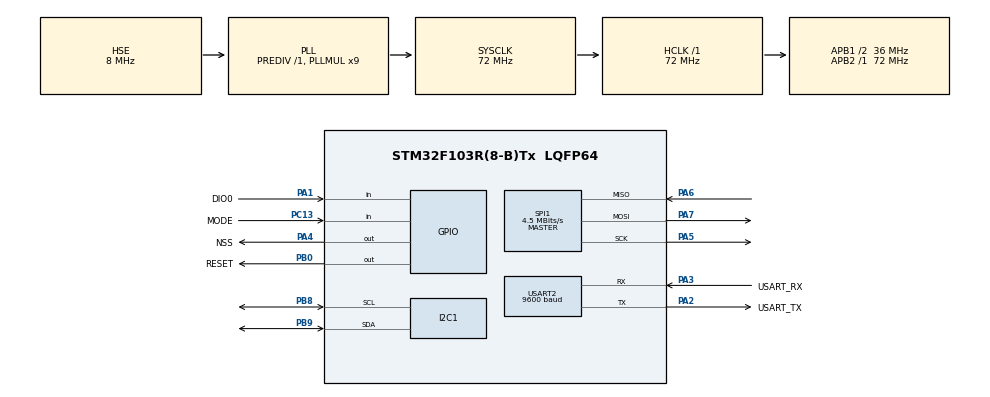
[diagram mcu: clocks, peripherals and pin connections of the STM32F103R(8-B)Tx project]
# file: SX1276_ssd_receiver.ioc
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I2C1.I2C_Mode=I2C_Fast
Mcu.Family=STM32F1
Mcu.Name=STM32F103R(8-B)Tx
Mcu.Package=LQFP64
NVIC.PriorityGroup=NVIC_PRIORITYGROUP_4
NVIC.USART2_IRQn=true\:0\:0\:false\:false\:true\:true\:true\:true
PA1.GPIO_Label=DIO0
PA1.Signal=GPIO_Input
PA13.GPIO_Label=TMS
PA13.Mode=Serial_Wire
PA13.Signal=SYS_JTMS-SWDIO
PA14.GPIO_Label=TCK
PA14.Mode=Serial_Wire
PA14.Signal=SYS_JTCK-SWCLK
PA2.GPIO_Label=USART_TX
PA2.GPIO_Mode=GPIO_MODE_AF_PP
PA2.GPIO_PuPd=GPIO_NOPULL
PA2.GPIO_Speed=GPIO_SPEED_FREQ_LOW
PA2.Mode=Asynchronous
PA2.Signal=USART2_TX
PA3.GPIO_Label=USART_RX
PA3.GPIO_Mode=GPIO_MODE_AF_PP
PA3.GPIO_PuPd=GPIO_NOPULL
PA3.GPIO_Speed=GPIO_SPEED_FREQ_LOW
PA3.Mode=Asynchronous
PA3.Signal=USART2_RX
PA4.GPIO_Label=NSS
PA4.PinState=GPIO_PIN_SET
PA4.Signal=GPIO_Output
PA5.Mode=Full_Duplex_Master
PA5.Signal=SPI1_SCK
PA6.Mode=Full_Duplex_Master
PA6.Signal=SPI1_MISO
PA7.Mode=Full_Duplex_Master
PA7.Signal=SPI1_MOSI
PB0.GPIO_Label=RESET
PB0.PinState=GPIO_PIN_SET
PB0.Signal=GPIO_Output
PB3.GPIO_Label=SWO
PB3.Signal=SYS_JTDO-TRACESWO
PB8.Mode=I2C
PB8.Signal=I2C1_SCL
PB9.Mode=I2C
PB9.Signal=I2C1_SDA
PC13-TAMPER-RTC.GPIO_Label=MODE
PC13-TAMPER-RTC.Signal=GPIO_Input
PC14-OSC32_IN.Mode=LSE-External-Oscillator
PC14-OSC32_IN.Signal=RCC_OSC32_IN
PC15-OSC32_OUT.Mode=LSE-External-Oscillator
PC15-OSC32_OUT.Signal=RCC_OSC32_OUT
PD0-OSC_IN.Mode=HSE-External-Clock-Source
PD0-OSC_IN.Signal=RCC_OSC_IN
PD1-OSC_OUT.Mode=HSE-External-Clock-Source
PD1-OSC_OUT.Signal=RCC_OSC_OUT
ProjectManager.HeapSize=0x200
ProjectManager.StackSize=0x400
ProjectManager.TargetToolchain=STM32CubeIDE
RCC.AHBFreq_Value=72000000
RCC.APB1CLKDivider=RCC_HCLK_DIV2
RCC.APB1Freq_Value=36000000
RCC.APB1TimFreq_Value=72000000
RCC.APB2Freq_Value=72000000
RCC.APB2TimFreq_Value=72000000
RCC.HCLKFreq_Value=72000000
RCC.PLLMUL=RCC_PLL_MUL9
RCC.PLLSourceVirtual=RCC_PLLSOURCE_HSE
RCC.RTCClockSelection=RCC_RTCCLKSOURCE_LSE
RCC.SYSCLKFreq_VALUE=72000000
RCC.SYSCLKSource=RCC_SYSCLKSOURCE_PLLCLK
RCC.USBFreq_Value=72000000
SPI1.BaudRatePrescaler=SPI_BAUDRATEPRESCALER_16
SPI1.CalculateBaudRate=4.5 MBits/s
SPI1.Direction=SPI_DIRECTION_2LINES
SPI1.Mode=SPI_MODE_MASTER
SPI1.VirtualType=VM_MASTER
USART2.BaudRate=9600
USART2.VirtualMode=VM_ASYNC
board=NUCLEO-F103RB

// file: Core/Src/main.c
/* USER CODE BEGIN Header */
/**
  ******************************************************************************
  * @file           : main.c
  * @brief          : Main program body
  * @author			: C J R Y U | 2sanghaesea
  ******************************************************************************
  * @attention
  *
  * Copyright (c) 2024 STMicroelectronics.
  * All rights reserved.
  *
  * This software is licensed under terms that can be found in the LICENSE file
  * in the root directory of this software component.
  * If no LICENSE file comes with this software, it is provided AS-IS.
  *
  ******************************************************************************
  */
/* USER CODE END Header */
#include "main.h"
#include "i2c.h"
#include "spi.h"
#include "usart.h"
#include "gpio.h"

/* USER CODE BEGIN Includes */
#include <stdio.h>
#include <string.h>
#include "fonts.h"
#include "ssd1306.h"
#include <SX1276.h>
/* USER CODE END Includes */

void SystemClock_Config(void);
/* USER CODE BEGIN PFP */
int _write(int file, char *ptr, int len) {
    int i;
    HAL_UART_Transmit(&huart2, (uint8_t*) ptr, len, 50);
    for (i = 0; i < len; i++) {
        ITM_SendChar(*ptr++);
    }
    return len;
}
/* USER CODE END PFP */

/* USER CODE BEGIN 0 */
//sx1276 코드 ----------------------------------------------------------------
SX1276_hw_t SX1276_hw;     // SX1276 hardware configuration struct
SX1276_t SX1276;           // SX1276 LoRa module struct

int master;     // Master/Slave mode flag
int ret;

char buffer[512];

int message_length;

/* USER CODE END 0 */

int main(void)
{

  /* MCU Configuration--------------------------------------------------------*/

  /* Reset of all peripherals, Initializes the Flash interface and the Systick. */
  HAL_Init();

  /* Configure the system clock */
  SystemClock_Config();

  /* Initialize all configured peripherals */
  MX_GPIO_Init();
  MX_USART2_UART_Init();
  MX_SPI1_Init();
  MX_I2C1_Init();
  /* USER CODE BEGIN 2 */

	  printf("Mode: Slave\r\n");      // Print mode information
	  HAL_GPIO_WritePin(MODE_GPIO_Port, MODE_Pin, GPIO_PIN_SET);    // Set MODE pin high for slave mode

      // Initialize SX1276 LoRa module
      SX1276_hw.dio0.port = DIO0_GPIO_Port;
      SX1276_hw.dio0.pin = DIO0_Pin;
      SX1276_hw.nss.port = NSS_GPIO_Port;
      SX1276_hw.nss.pin = NSS_Pin;
      SX1276_hw.reset.port = RESET_GPIO_Port;
      SX1276_hw.reset.pin = RESET_Pin;
      SX1276_hw.spi = &hspi1;

      SX1276.hw = &SX1276_hw;

      printf("Configuring LoRa module\r\n");
      SX1276_init(&SX1276, 923100000, SX1276_POWER_20DBM, SX1276_LORA_SF_7,  // Configure LoRa module
                  SX1276_LORA_BW_125KHZ, SX1276_LORA_CR_4_5, SX1276_LORA_CRC_EN, 10);
      printf("Done configuring LoRaModule\r\n");

	  ret = SX1276_LoRaEntryRx(&SX1276, 16, 2000);     // Configure LoRa module for reception in slave mode
	  printf("Receive Mode !\r\n");

      SSD1306_Init();

	  char received_temperature[15];
	  char received_humidity[15];
  /* USER CODE END 2 */

  /* Infinite loop */
  /* USER CODE BEGIN WHILE */
  while (1)
  {

		 printf("Slave ...\r\n");
		 HAL_Delay(800);
		 printf("Receiving package...\r\n");

		 ret = SX1276_LoRaRxPacket(&SX1276);
		 printf("Received: %d\r\n", ret);
		 if (ret > 0) {
			SX1276_read(&SX1276, (uint8_t*) buffer, ret);
			printf("Content (%d): %s\r\n", ret, buffer);

			char *token = strtok(buffer, ",");

			// 온도와 습도 추출
			strcpy(received_temperature, token);

			strcpy(received_humidity, strtok(NULL, "."));

			// OLED에 수신된 온도와 습도 표시
			SSD1306_GotoXY(21,0);
			SSD1306_Puts("RECEIVED",&Font_11x18, 1);
			SSD1306_GotoXY(10,20);
			SSD1306_Puts(received_temperature,&Font_11x18, 1);
			SSD1306_GotoXY(0,40);

			SSD1306_Puts(received_humidity,&Font_11x18, 1);
			SSD1306_UpdateScreen();

			printf("Package received ...\r\n");

	         }

    /* USER CODE END WHILE */

  }
}

void SystemClock_Config(void)
{
  RCC_OscInitTypeDef RCC_OscInitStruct = {0};
  RCC_ClkInitTypeDef RCC_ClkInitStruct = {0};

  /** Initializes the RCC Oscillators according to the specified parameters
  * in the RCC_OscInitTypeDef structure.
  */
  RCC_OscInitStruct.OscillatorType = RCC_OSCILLATORTYPE_HSE;
  RCC_OscInitStruct.HSEState = RCC_HSE_BYPASS;
  RCC_OscInitStruct.HSEPredivValue = RCC_HSE_PREDIV_DIV1;
  RCC_OscInitStruct.HSIState = RCC_HSI_ON;
  RCC_OscInitStruct.PLL.PLLState = RCC_PLL_ON;
  RCC_OscInitStruct.PLL.PLLSource = RCC_PLLSOURCE_HSE;
  RCC_OscInitStruct.PLL.PLLMUL = RCC_PLL_MUL9;
  if (HAL_RCC_OscConfig(&RCC_OscInitStruct) != HAL_OK)
  {
    Error_Handler();
  }

  /** Initializes the CPU, AHB and APB buses clocks
  */
  RCC_ClkInitStruct.ClockType = RCC_CLOCKTYPE_HCLK|RCC_CLOCKTYPE_SYSCLK
                              |RCC_CLOCKTYPE_PCLK1|RCC_CLOCKTYPE_PCLK2;
  RCC_ClkInitStruct.SYSCLKSource = RCC_SYSCLKSOURCE_PLLCLK;
  RCC_ClkInitStruct.AHBCLKDivider = RCC_SYSCLK_DIV1;
  RCC_ClkInitStruct.APB1CLKDivider = RCC_HCLK_DIV2;
  RCC_ClkInitStruct.APB2CLKDivider = RCC_HCLK_DIV1;

  if (HAL_RCC_ClockConfig(&RCC_ClkInitStruct, FLASH_LATENCY_2) != HAL_OK)
  {
    Error_Handler();
  }
}

void Error_Handler(void)
{
  __disable_irq();
  while (1)
   {
   }
}
